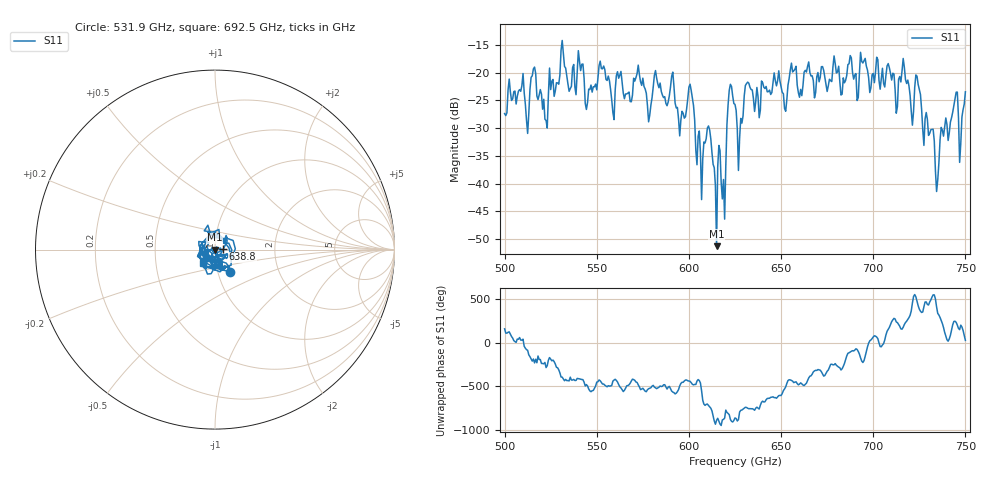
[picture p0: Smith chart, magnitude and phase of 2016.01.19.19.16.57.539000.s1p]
!Created with skrf (http://scikit-rf.org).
# GHz S RI R 50.0
!freq ReS11 ImS11
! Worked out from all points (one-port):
!   401 points, 500 GHz to 750 GHz, reference 50 ohm
!   lowest |S11| = -51.3 dB at 615 GHz (marker M1), VSWR 1.01, Z = 49.7 - j0.0474 ohm
!   |S11| at or under -10 dB: start of sweep to end of sweep
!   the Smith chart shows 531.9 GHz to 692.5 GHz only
!   S11 on the Smith chart (normalised r, x): 531.9 GHz: 1.15, -0.29; 638.8 GHz: 1.10, +0.00; 692.5 GHz: 0.87, -0.13
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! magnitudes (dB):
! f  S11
! 500 GHz  -27.4
! 512.5 GHz  -31.0
! 515.6 GHz  -19.3
! 521.9 GHz  -28.4
! 531.2 GHz  -14.2
! 531.9 GHz  -16.5
! 545 GHz  -25.4
! 562.5 GHz  -20.5
! 578.8 GHz  -27.6
! 590.6 GHz  -20.7
! 593.8 GHz  -26.3
! 601.2 GHz  -23.2
! 605.6 GHz  -30.5
! 610.6 GHz  -29.6
! 615 GHz  -51.3
! 618.8 GHz  -39.3
! 622.5 GHz  -22.1
! 625 GHz  -25.7
! 627.5 GHz  -31.8
! 631.2 GHz  -22.0
! 638.8 GHz  -26.8
! 656.2 GHz  -19.9
! 687.5 GHz  -16.9
! 692.5 GHz  -20.2
! 718.8 GHz  -21.4
! 724.4 GHz  -22.1
! 734.4 GHz  -41.4
! 750 GHz  -23.5
